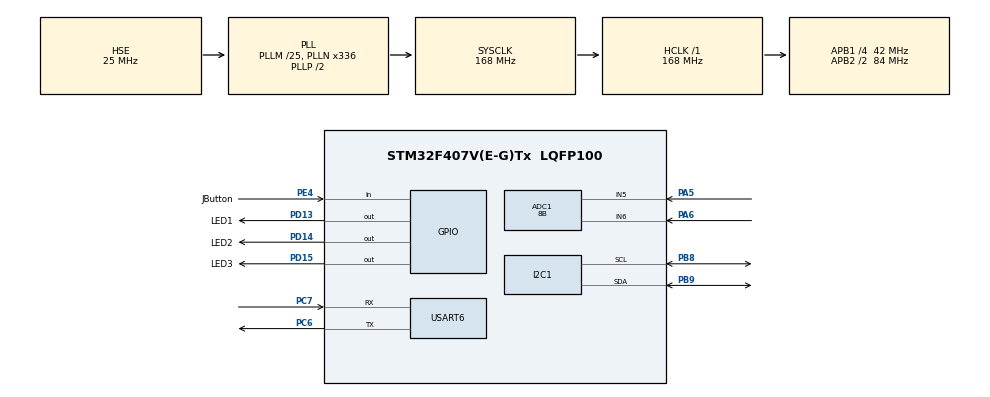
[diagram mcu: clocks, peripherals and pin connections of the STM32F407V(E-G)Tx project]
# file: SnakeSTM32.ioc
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ADC1.Channel-5\#ChannelRegularConversion=ADC_CHANNEL_5
ADC1.Channel-6\#ChannelRegularConversion=ADC_CHANNEL_6
ADC1.ContinuousConvMode=ENABLE
ADC1.DMAContinuousRequests=ENABLE
ADC1.NbrOfConversion=2
ADC1.NbrOfConversionFlag=1
ADC1.Rank-5\#ChannelRegularConversion=1
ADC1.Rank-6\#ChannelRegularConversion=2
ADC1.Resolution=ADC_RESOLUTION_8B
ADC1.SamplingTime-5\#ChannelRegularConversion=ADC_SAMPLETIME_480CYCLES
ADC1.SamplingTime-6\#ChannelRegularConversion=ADC_SAMPLETIME_480CYCLES
ADC1.ScanConvMode=ENABLE
ADC1.master=1
Dma.ADC1.0.Direction=DMA_PERIPH_TO_MEMORY
Dma.ADC1.0.FIFOMode=DMA_FIFOMODE_DISABLE
Dma.ADC1.0.Instance=DMA2_Stream0
Dma.ADC1.0.MemDataAlignment=DMA_MDATAALIGN_WORD
Dma.ADC1.0.MemInc=DMA_MINC_ENABLE
Dma.ADC1.0.Mode=DMA_CIRCULAR
Dma.ADC1.0.PeriphDataAlignment=DMA_PDATAALIGN_WORD
Dma.ADC1.0.PeriphInc=DMA_PINC_DISABLE
Dma.ADC1.0.Priority=DMA_PRIORITY_LOW
Dma.Request0=ADC1
I2C1.I2C_Mode=I2C_Fast
Mcu.Family=STM32F4
Mcu.Name=STM32F407V(E-G)Tx
Mcu.Package=LQFP100
NVIC.DMA2_Stream0_IRQn=true\:0\:0\:false\:false\:true\:false\:true
NVIC.PriorityGroup=NVIC_PRIORITYGROUP_4
PA13.Mode=JTAG_5_pins
PA13.Signal=SYS_JTMS-SWDIO
PA14.Mode=JTAG_5_pins
PA14.Signal=SYS_JTCK-SWCLK
PA15.Mode=JTAG_5_pins
PA15.Signal=SYS_JTDI
PA5.Signal=ADCx_IN5
PA6.Signal=ADCx_IN6
PB3.Mode=JTAG_5_pins
PB3.Signal=SYS_JTDO-SWO
PB4.Mode=JTAG_5_pins
PB4.Signal=SYS_JTRST
PB8.Mode=I2C
PB8.Signal=I2C1_SCL
PB9.Mode=I2C
PB9.Signal=I2C1_SDA
PC6.Mode=Asynchronous
PC6.Signal=USART6_TX
PC7.Mode=Asynchronous
PC7.Signal=USART6_RX
PD13.GPIO_Label=LED1
PD13.Signal=GPIO_Output
PD14.GPIO_Label=LED2
PD14.Signal=GPIO_Output
PD15.GPIO_Label=LED3
PD15.Signal=GPIO_Output
PE4.GPIO_Label=JButton
PE4.Signal=GPIO_Input
PH0-OSC_IN.Mode=HSE-External-Oscillator
PH0-OSC_IN.Signal=RCC_OSC_IN
PH1-OSC_OUT.Mode=HSE-External-Oscillator
PH1-OSC_OUT.Signal=RCC_OSC_OUT
ProjectManager.HeapSize=0x200
ProjectManager.StackSize=0x400
ProjectManager.TargetToolchain=SW4STM32
RCC.48MHZClocksFreq_Value=84000000
RCC.AHBFreq_Value=168000000
RCC.APB1CLKDivider=RCC_HCLK_DIV4
RCC.APB1Freq_Value=42000000
RCC.APB1TimFreq_Value=84000000
RCC.APB2CLKDivider=RCC_HCLK_DIV2
RCC.APB2Freq_Value=84000000
RCC.APB2TimFreq_Value=168000000
RCC.CortexFreq_Value=168000000
RCC.HCLKFreq_Value=168000000
RCC.HSE_VALUE=25000000
RCC.HSI_VALUE=16000000
RCC.LSE_VALUE=32768
RCC.PLLM=25
RCC.PLLN=336
RCC.PLLSourceVirtual=RCC_PLLSOURCE_HSE
RCC.SYSCLKFreq_VALUE=168000000
RCC.SYSCLKSource=RCC_SYSCLKSOURCE_PLLCLK
RCC.VCOOutputFreq_Value=336000000
SH.ADCx_IN5.0=ADC1_IN5,IN5
SH.ADCx_IN6.0=ADC1_IN6,IN6
USART6.VirtualMode=VM_ASYNC
board=custom

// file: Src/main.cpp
/* USER CODE BEGIN Header */
/**
  ******************************************************************************
  * @file           : main.c
  * @brief          : Main program body
  ******************************************************************************
  * @attention
  *
  * <h2><center>&copy; Copyright (c) 2019 STMicroelectronics.
  * All rights reserved.</center></h2>
  *
  * This software component is licensed by ST under BSD 3-Clause license,
  * the "License"; You may not use this file except in compliance with the
  * License. You may obtain a copy of the License at:
  *                        opensource.org/licenses/BSD-3-Clause
  *
  ******************************************************************************
  */
/* USER CODE END Header */

#include "main.h"
#include "adc.h"
#include "dma.h"
#include "i2c.h"
#include "usart.h"
#include "gpio.h"

/* USER CODE BEGIN Includes */
#include "allegory/stm32/OledDisplay.h"
#include "allegory/snake/Game.h"
#include "allegory/stm32/StmKeyboard.h"
#include "allegory/stm32/StmTimer.h"
#include "allegory/snake/SplashScreen.h"
#include "allegory/snake/MainMenu.h"
/* USER CODE END Includes */

void SystemClock_Config(void);

int main(void) {

    /* MCU Configuration--------------------------------------------------------*/

    /* Reset of all peripherals, Initializes the Flash interface and the Systick. */
    HAL_Init();

    /* Configure the system clock */
    SystemClock_Config();

    /* Initialize all configured peripherals */
    MX_GPIO_Init();
    MX_DMA_Init();
    MX_ADC1_Init();
    MX_USART6_UART_Init();
    MX_I2C1_Init();
    /* USER CODE BEGIN 2 */
    using namespace allegory;
    stm32::OledDisplay oled = stm32::OledDisplay();
    stm32::StmKeyboard keyboard = stm32::StmKeyboard();
    stm32::StmTimer timer = stm32::StmTimer();
    oled.init();

    // Show splash screen
    snake::SplashScreen splashScreen = snake::SplashScreen(oled, keyboard);
    splashScreen.run();
    /* USER CODE END 2 */

    /* Infinite loop */
    /* USER CODE BEGIN WHILE */
#pragma clang diagnostic push
#pragma clang diagnostic ignored "-Wmissing-noreturn"
    while (true) {
        /* USER CODE END WHILE */

        /* USER CODE BEGIN 3 */
        snake::MainMenu mainMenu = snake::MainMenu(oled, keyboard, timer);
        snake::GameLevel level = mainMenu.run();

        snake::Game game = snake::Game(oled, keyboard, timer, level);
        game.invokeMainLoop();
    }
#pragma clang diagnostic pop
    /* USER CODE END 3 */
}

void SystemClock_Config(void) {
    RCC_OscInitTypeDef RCC_OscInitStruct = {0};
    RCC_ClkInitTypeDef RCC_ClkInitStruct = {0};

    /** Configure the main internal regulator output voltage
    */
    __HAL_RCC_PWR_CLK_ENABLE();
    __HAL_PWR_VOLTAGESCALING_CONFIG(PWR_REGULATOR_VOLTAGE_SCALE1);
    /** Initializes the CPU, AHB and APB busses clocks
    */
    RCC_OscInitStruct.OscillatorType = RCC_OSCILLATORTYPE_HSE;
    RCC_OscInitStruct.HSEState = RCC_HSE_ON;
    RCC_OscInitStruct.PLL.PLLState = RCC_PLL_ON;
    RCC_OscInitStruct.PLL.PLLSource = RCC_PLLSOURCE_HSE;
    RCC_OscInitStruct.PLL.PLLM = 25;
    RCC_OscInitStruct.PLL.PLLN = 336;
    RCC_OscInitStruct.PLL.PLLP = RCC_PLLP_DIV2;
    RCC_OscInitStruct.PLL.PLLQ = 4;
    if (HAL_RCC_OscConfig(&RCC_OscInitStruct) != HAL_OK) {
        Error_Handler();
    }
    /** Initializes the CPU, AHB and APB busses clocks
    */
    RCC_ClkInitStruct.ClockType = RCC_CLOCKTYPE_HCLK | RCC_CLOCKTYPE_SYSCLK
                                  | RCC_CLOCKTYPE_PCLK1 | RCC_CLOCKTYPE_PCLK2;
    RCC_ClkInitStruct.SYSCLKSource = RCC_SYSCLKSOURCE_PLLCLK;
    RCC_ClkInitStruct.AHBCLKDivider = RCC_SYSCLK_DIV1;
    RCC_ClkInitStruct.APB1CLKDivider = RCC_HCLK_DIV4;
    RCC_ClkInitStruct.APB2CLKDivider = RCC_HCLK_DIV2;

    if (HAL_RCC_ClockConfig(&RCC_ClkInitStruct, FLASH_LATENCY_5) != HAL_OK) {
        Error_Handler();
    }
}

void Error_Handler(void) {
}

/************************ (C) COPYRIGHT STMicroelectronics *****END OF FILE****/
